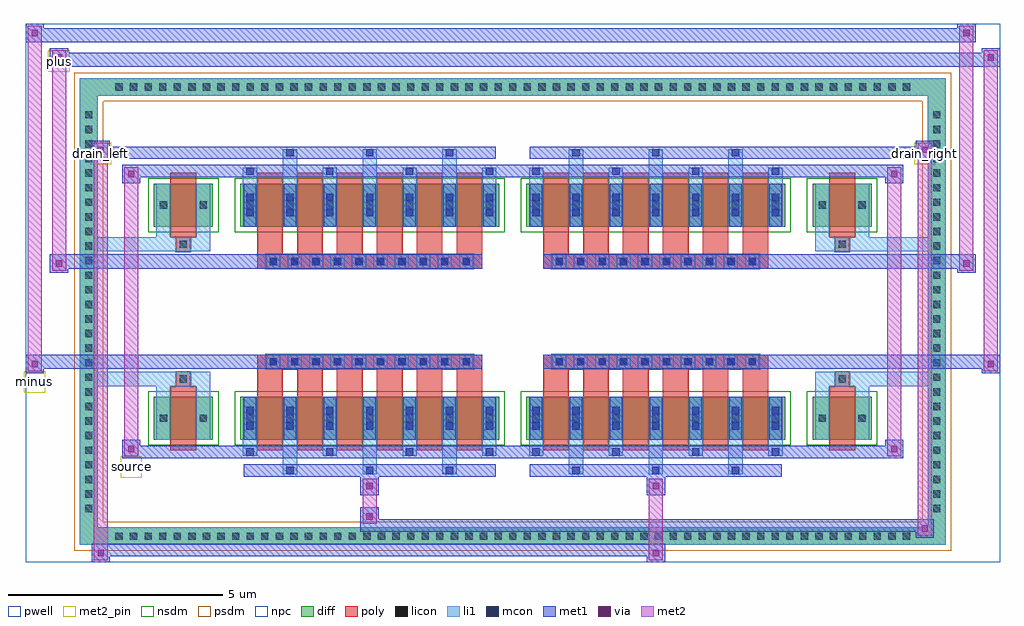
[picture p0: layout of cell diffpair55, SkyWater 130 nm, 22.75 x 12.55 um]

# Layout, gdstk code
import gdstk
lib = gdstk.Library(unit=1e-6, precision=5e-09)
def R(c, l, rs):  # rectangles x0, y0, x1, y1
    for r in rs: c.add(gdstk.rectangle(r[:2], r[2:], *l))
def A(c, l, x, y, w, h, nx, ny, dx, dy):  # array of equal rectangles
    R(c, l, [(x+i*dx, y+j*dy, x+i*dx+w, y+j*dy+h) for i in range(nx) for j in range(ny)])
def P(c, l, *ps):  # polygons
    for p in ps: c.add(gdstk.Polygon(p, *l))
pwell = (64, 44)
diff = (65, 20)
poly = (66, 20)
licon = (66, 44)
li1 = (67, 20)
mcon = (67, 44)
met1 = (68, 20)
via = (68, 44)
met2_pin = (69, 16)
met2 = (69, 20)
nsdm = (93, 44)
psdm = (94, 20)
npc = (95, 20)

diffpair55 = lib.new_cell('diffpair55')
R(diffpair55, pwell, [(-11.36,-5.84,11.36,6.71), (-8.68,-4.03,-0.01,-0.805), (0.01,-4.03,8.68,-0.805), (-8.68,0.805,-0.01,4.03), (0.01,0.805,8.68,4.03)])
A(diffpair55, diff, -9.385, -5.44, 0.41, 0.41, 55, 2, 0.34, 10.47)
A(diffpair55, diff, -10.09, -4.795, 0.41, 0.41, 1, 28, 0, 0.34)
A(diffpair55, diff, 9.68, -4.795, 0.41, 0.41, 1, 28, 0, 0.34)
R(diffpair55, diff, [(-9.385,-5.44,9.385,-5.03), (-10.09,-4.795,-9.68,4.795), (9.68,-4.795,10.09,4.795), (-8.37,-2.985,-6.99,-1.985), (-6.35,-2.985,-0.32,-1.985), (0.32,-2.985,6.35,-1.985), (6.99,-2.985,8.37,-1.985), (-8.37,1.985,-6.99,2.985), (-6.35,1.985,-0.32,2.985), (0.32,1.985,6.35,2.985), (6.99,1.985,8.37,2.985), (-9.385,5.03,9.385,5.44)])
P(diffpair55, diff, [(10.09,5.44),(-10.09,5.44),(-10.09,-5.03),(-9.68,-5.03),(-9.68,5.03),(9.68,5.03),(9.68,-5.03),(-9.68,-5.03),(-10.09,-5.03),(-10.09,-5.44),(10.09,-5.44)])
A(diffpair55, poly, -5.96, -3.235, 0.6, 1.5, 6, 2, 0.93, 4.97)
A(diffpair55, poly, 0.71, -3.235, 0.6, 1.5, 6, 2, 0.93, 4.97)
A(diffpair55, poly, -5.96, -1.735, 0.6, 0.4, 6, 2, 0.93, 3.07)
A(diffpair55, poly, 0.71, -1.735, 0.6, 0.4, 6, 2, 0.93, 3.07)
A(diffpair55, poly, -5.75, -1.335, 0.33, 0.33, 10, 2, 0.5, 2.34)
A(diffpair55, poly, 0.92, -1.335, 0.33, 0.33, 10, 2, 0.5, 2.34)
R(diffpair55, poly, [(-7.98,-3.235,-7.38,-1.735), (7.38,-3.235,7.98,-1.735), (-7.845,-1.735,-7.515,-1.405), (-7.845,-1.735,-7.515,-1.405), (7.515,-1.735,7.845,-1.405), (7.515,-1.735,7.845,-1.405), (-5.96,-1.335,-0.71,-1.005), (0.71,-1.335,5.96,-1.005), (-5.96,1.005,-0.71,1.335), (0.71,1.005,5.96,1.335), (-7.845,1.405,-7.515,1.735), (-7.845,1.405,-7.515,1.735), (7.515,1.405,7.845,1.735), (7.515,1.405,7.845,1.735), (-7.98,1.735,-7.38,3.235), (7.38,1.735,7.98,3.235)])
A(diffpair55, licon, -9.265, -5.32, 0.17, 0.17, 55, 2, 0.34, 10.47)
A(diffpair55, licon, -9.97, -4.675, 0.17, 0.17, 1, 28, 0, 0.34)
A(diffpair55, licon, 9.8, -4.675, 0.17, 0.17, 1, 28, 0, 0.34)
A(diffpair55, licon, -6.21, -2.57, 0.17, 0.17, 7, 2, 0.93, 4.97)
A(diffpair55, licon, 0.46, -2.57, 0.17, 0.17, 7, 2, 0.93, 4.97)
A(diffpair55, licon, -5.67, -1.255, 0.17, 0.17, 10, 2, 0.5, 2.34)
A(diffpair55, licon, 1, -1.255, 0.17, 0.17, 10, 2, 0.5, 2.34)
R(diffpair55, licon, [(-8.23,-2.57,-8.06,-2.4), (-7.3,-2.57,-7.13,-2.4), (7.13,-2.57,7.3,-2.4), (8.06,-2.57,8.23,-2.4), (-7.765,-1.655,-7.595,-1.485), (7.595,-1.655,7.765,-1.485), (-7.765,1.485,-7.595,1.655), (7.595,1.485,7.765,1.655), (-8.23,2.4,-8.06,2.57), (-7.3,2.4,-7.13,2.57), (7.13,2.4,7.3,2.57), (8.06,2.4,8.23,2.57)])
A(diffpair55, li1, -9.345, -5.4, 0.33, 0.33, 55, 2, 0.34, 10.47)
A(diffpair55, li1, -10.05, -4.755, 0.33, 0.33, 1, 28, 0, 0.34)
A(diffpair55, li1, 9.72, -4.755, 0.33, 0.33, 1, 28, 0, 0.34)
A(diffpair55, li1, -5.36, -3.79, 0.33, 0.805, 3, 2, 1.86, 6.775)
A(diffpair55, li1, -5.28, -3.79, 0.17, 0.17, 3, 2, 1.86, 7.41)
A(diffpair55, li1, 1.31, -3.79, 0.33, 0.805, 3, 2, 1.86, 6.775)
A(diffpair55, li1, 1.39, -3.79, 0.17, 0.17, 3, 2, 1.86, 7.41)
A(diffpair55, li1, -6.29, -3.36, 0.33, 0.375, 4, 2, 1.86, 6.345)
A(diffpair55, li1, -6.21, -3.36, 0.17, 0.17, 4, 2, 1.86, 6.55)
A(diffpair55, li1, 0.38, -3.36, 0.33, 0.375, 4, 2, 1.86, 6.345)
A(diffpair55, li1, 0.46, -3.36, 0.17, 0.17, 4, 2, 1.86, 6.55)
A(diffpair55, li1, -6.29, -2.985, 0.33, 1, 7, 2, 0.93, 4.97)
A(diffpair55, li1, 0.38, -2.985, 0.33, 1, 7, 2, 0.93, 4.97)
A(diffpair55, li1, -6.21, -2.75, 0.17, 0.17, 7, 2, 0.93, 0.36)
A(diffpair55, li1, -6.21, -2.75, 0.17, 0.53, 7, 2, 0.93, 4.97)
A(diffpair55, li1, 0.46, -2.75, 0.17, 0.17, 7, 2, 0.93, 0.36)
A(diffpair55, li1, 0.46, -2.75, 0.17, 0.53, 7, 2, 0.93, 4.97)
A(diffpair55, li1, -6.29, -2.65, 0.33, 0.33, 7, 2, 0.93, 4.97)
A(diffpair55, li1, 0.38, -2.65, 0.33, 0.33, 7, 2, 0.93, 4.97)
A(diffpair55, li1, -5.75, -1.335, 0.33, 0.33, 10, 2, 0.5, 2.34)
A(diffpair55, li1, 0.92, -1.335, 0.33, 0.33, 10, 2, 0.5, 2.34)
A(diffpair55, li1, -6.21, 2.22, 0.17, 0.17, 7, 2, 0.93, 0.36)
A(diffpair55, li1, 0.46, 2.22, 0.17, 0.17, 7, 2, 0.93, 0.36)
R(diffpair55, li1, [(-10.09,-5.44,-9.68,-5.03), (-10.09,-5.44,-9.68,-5.03), (-9.68,-5.44,9.68,-5.03), (9.68,-5.44,10.09,-5.03), (9.68,-5.44,10.09,-5.03), (-10.09,-5.03,-9.68,5.03), (9.68,-5.03,10.09,5.03), (-8.31,-2.985,-7.98,-1.985), (-7.38,-2.985,-7.05,-1.985), (7.05,-2.985,7.38,-1.985), (7.98,-2.985,8.31,-1.985), (-8.31,-2.65,-7.98,-2.32), (-7.38,-2.65,-7.05,-2.32), (7.05,-2.65,7.38,-2.32), (7.98,-2.65,8.31,-2.32), (-8.31,-1.985,-7.98,-1.405), (-7.38,-1.985,-7.05,-1.405), (7.05,-1.985,7.38,-1.405), (7.98,-1.985,8.31,-1.405), (-10.09,-1.735,-7.845,-1.405), (-8.31,-1.735,-7.845,-1.405), (-7.845,-1.735,-7.515,-1.405), (-7.515,-1.735,-7.05,-1.405), (7.05,-1.735,7.515,-1.405), (7.515,-1.735,7.845,-1.405), (7.515,-1.735,10.09,-1.405), (7.845,-1.735,8.31,-1.405), (-10.09,1.405,-7.845,1.735), (-8.31,1.405,-7.845,1.735), (-8.31,1.405,-7.98,1.985), (-7.845,1.405,-7.515,1.735), (-7.515,1.405,-7.05,1.735), (-7.38,1.405,-7.05,1.985), (7.05,1.405,7.515,1.735), (7.05,1.405,7.38,1.985), (7.515,1.405,7.845,1.735), (7.515,1.405,10.09,1.735), (7.845,1.405,8.31,1.735), (7.98,1.405,8.31,1.985), (-8.31,1.985,-7.98,2.985), (-7.38,1.985,-7.05,2.985), (7.05,1.985,7.38,2.985), (7.98,1.985,8.31,2.985), (-8.31,2.32,-7.98,2.65), (-7.38,2.32,-7.05,2.65), (7.05,2.32,7.38,2.65), (7.98,2.32,8.31,2.65), (-10.09,5.03,-9.68,5.44), (-10.09,5.03,-9.68,5.44), (-9.68,5.03,9.68,5.44), (9.68,5.03,10.09,5.44), (9.68,5.03,10.09,5.44)])
A(diffpair55, mcon, -5.28, -3.79, 0.17, 0.17, 3, 2, 1.86, 7.41)
A(diffpair55, mcon, 1.39, -3.79, 0.17, 0.17, 3, 2, 1.86, 7.41)
A(diffpair55, mcon, -6.21, -3.36, 0.17, 0.17, 4, 2, 1.86, 6.55)
A(diffpair55, mcon, 0.46, -3.36, 0.17, 0.17, 4, 2, 1.86, 6.55)
A(diffpair55, mcon, -6.21, -2.75, 0.17, 0.17, 7, 2, 0.93, 0.36)
A(diffpair55, mcon, 0.46, -2.75, 0.17, 0.17, 7, 2, 0.93, 0.36)
A(diffpair55, mcon, -5.67, -1.255, 0.17, 0.17, 10, 2, 0.5, 2.34)
A(diffpair55, mcon, 1, -1.255, 0.17, 0.17, 10, 2, 0.5, 2.34)
A(diffpair55, mcon, -6.21, 2.22, 0.17, 0.17, 7, 2, 0.93, 0.36)
A(diffpair55, mcon, 0.46, 2.22, 0.17, 0.17, 7, 2, 0.93, 0.36)
A(diffpair55, met1, -5.34, -3.85, 0.29, 0.29, 3, 2, 1.86, 7.41)
A(diffpair55, met1, 1.33, -3.85, 0.29, 0.29, 3, 2, 1.86, 7.41)
A(diffpair55, met1, -6.27, -3.42, 0.29, 0.29, 4, 2, 1.86, 6.55)
A(diffpair55, met1, 0.4, -3.42, 0.29, 0.29, 4, 2, 1.86, 6.55)
A(diffpair55, met1, -6.27, -2.985, 0.29, 1, 7, 2, 0.93, 4.97)
A(diffpair55, met1, 0.4, -2.985, 0.29, 1, 7, 2, 0.93, 4.97)
A(diffpair55, met1, -6.27, -2.81, 0.29, 0.29, 7, 2, 0.93, 0.36)
A(diffpair55, met1, 0.4, -2.81, 0.29, 0.29, 7, 2, 0.93, 0.36)
A(diffpair55, met1, -5.73, -1.315, 0.29, 0.29, 10, 2, 0.5, 2.34)
A(diffpair55, met1, 0.94, -1.315, 0.29, 0.29, 10, 2, 0.5, 2.34)
A(diffpair55, met1, -6.27, 2.16, 0.29, 0.29, 7, 2, 0.93, 0.36)
A(diffpair55, met1, 0.4, 2.16, 0.29, 0.29, 7, 2, 0.93, 0.36)
R(diffpair55, met1, [(-9.82,-5.84,-9.39,-5.41), (3.12,-5.84,3.55,-5.41), (-9.82,-5.7,3.55,-5.41), (9.39,-5.27,9.82,-4.84), (-3.55,-5.13,9.82,-4.84), (-3.55,-4.99,-3.12,-4.56), (-3.55,-4.28,-3.12,-3.85), (3.12,-4.28,3.55,-3.85), (-6.27,-3.85,-0.4,-3.56), (0.4,-3.85,6.27,-3.56), (-9.11,-3.42,-8.68,-2.99), (-9.11,-3.42,-6.27,-3.13), (-6.27,-3.42,-0.4,-3.13), (-0.4,-3.42,0.4,-3.13), (0.4,-3.42,6.27,-3.13), (6.27,-3.42,9.11,-3.13), (8.68,-3.42,9.11,-2.99), (-11.36,-1.435,-10.93,-1.005), (10.93,-1.435,11.36,-1.005), (-11.36,-1.335,-0.71,-1.005), (-5.96,-1.335,-0.71,-1.005), (0.71,-1.335,5.96,-1.005), (0.71,-1.335,11.36,-1.005), (-10.79,0.905,-10.36,1.335), (10.36,0.905,10.79,1.335), (-10.79,1.005,-5.96,1.335), (-5.96,1.005,-0.71,1.335), (0.71,1.005,5.96,1.335), (5.96,1.005,10.79,1.335), (-9.11,2.99,-8.68,3.42), (8.68,2.99,9.11,3.42), (-9.11,3.13,-6.27,3.42), (-6.27,3.13,-0.4,3.42), (-0.4,3.13,0.4,3.42), (0.4,3.13,6.27,3.42), (6.27,3.13,9.11,3.42), (-9.82,3.56,-9.39,3.99), (-9.82,3.56,-6.27,3.85), (-6.27,3.56,-0.4,3.85), (0.4,3.56,6.27,3.85), (6.27,3.56,9.82,3.85), (9.39,3.56,9.82,3.99), (-10.79,5.71,-10.36,6.14), (-10.79,5.71,-8.68,6.04), (-8.68,5.71,8.68,6.04), (8.68,5.71,11.36,6.04), (10.93,5.71,11.36,6.14), (-11.36,6.28,-10.93,6.71), (-11.36,6.28,-8.68,6.61), (-8.68,6.28,8.68,6.61), (8.68,6.28,10.79,6.61), (10.36,6.28,10.79,6.71)])
R(diffpair55, via, [(-9.68,-5.7,-9.53,-5.55), (3.26,-5.7,3.41,-5.55), (9.53,-5.13,9.68,-4.98), (-3.41,-4.85,-3.26,-4.7), (-3.41,-4.14,-3.26,-3.99), (3.26,-4.14,3.41,-3.99), (-8.97,-3.28,-8.82,-3.13), (8.82,-3.28,8.97,-3.13), (-11.22,-1.295,-11.07,-1.145), (11.07,-1.295,11.22,-1.145), (-10.65,1.045,-10.5,1.195), (10.5,1.045,10.65,1.195), (-8.97,3.13,-8.82,3.28), (8.82,3.13,8.97,3.28), (-9.68,3.7,-9.53,3.85), (9.53,3.7,9.68,3.85), (-10.65,5.85,-10.5,6), (11.07,5.85,11.22,6), (-11.22,6.42,-11.07,6.57), (10.5,6.42,10.65,6.57)])
R(diffpair55, met2_pin, [(-9.145,-3.87,-8.645,-3.37), (-11.395,-1.885,-10.895,-1.385), (-9.855,3.44,-9.355,3.94), (9.355,3.44,9.855,3.94), (-10.825,5.59,-10.325,6.09)])
R(diffpair55, met2, [(-9.77,-5.79,-9.44,-5.46), (-9.77,-5.79,-9.44,3.94), (3.17,-5.79,3.5,-5.46), (3.17,-5.46,3.5,-4.23), (9.44,-5.22,9.77,-4.89), (9.44,-5.22,9.77,3.94), (-3.5,-4.94,-3.17,-4.61), (-3.5,-4.61,-3.17,-4.23), (-3.5,-4.23,-3.17,-3.9), (3.17,-4.23,3.5,-3.9), (-9.06,-3.37,-8.73,-3.04), (-9.06,-3.37,-8.73,3.37), (8.73,-3.37,9.06,-3.04), (8.73,-3.37,9.06,3.37), (-11.31,-1.385,-10.98,-1.055), (-11.31,-1.385,-10.98,6.66), (10.98,-1.385,11.31,-1.055), (10.98,-1.385,11.31,6.09), (-10.74,0.955,-10.41,1.285), (-10.74,0.955,-10.41,6.09), (10.41,0.955,10.74,1.285), (10.41,0.955,10.74,6.66), (-9.06,3.04,-8.73,3.37), (8.73,3.04,9.06,3.37), (-9.77,3.61,-9.44,3.94), (9.44,3.61,9.77,3.94), (-10.74,5.76,-10.41,6.09), (10.98,5.76,11.31,6.09), (-11.31,6.33,-10.98,6.66), (10.41,6.33,10.74,6.66)])
P(diffpair55, met2, [(11.31,-1.385),(11.31,-1.385),(11.31,-1.055),(11.31,-1.055)],
  [(11.31,5.76),(11.31,5.76),(11.31,6.09),(11.31,6.09)],
  [(-10.98,-1.385),(-10.98,-1.385),(-10.98,-1.055),(-10.98,-1.055)],
  [(-10.98,6.33),(-10.98,6.33),(-10.98,6.66),(-10.98,6.66)],
  [(10.74,0.955),(10.74,0.955),(10.74,1.285),(10.74,1.285)],
  [(10.74,6.33),(10.74,6.33),(10.74,6.66),(10.74,6.66)],
  [(-10.41,0.955),(-10.41,0.955),(-10.41,1.285),(-10.41,1.285)],
  [(-10.41,5.76),(-10.41,5.76),(-10.41,6.09),(-10.41,6.09)],
  [(-9.44,-5.79),(-9.44,-5.79),(-9.44,-5.46),(-9.44,-5.46)],
  [(-9.44,3.61),(-9.44,3.61),(-9.44,3.94),(-9.44,3.94)],
  [(9.77,-5.22),(9.77,-5.22),(9.77,-4.89),(9.77,-4.89)],
  [(9.77,3.61),(9.77,3.61),(9.77,3.94),(9.77,3.94)],
  [(-8.73,-3.37),(-8.73,-3.37),(-8.73,-3.04),(-8.73,-3.04)],
  [(-8.73,3.04),(-8.73,3.04),(-8.73,3.37),(-8.73,3.37)],
  [(9.06,-3.37),(9.06,-3.37),(9.06,-3.04),(9.06,-3.04)],
  [(9.06,3.04),(9.06,3.04),(9.06,3.37),(9.06,3.37)])
R(diffpair55, nsdm, [(-8.5,-3.115,-6.86,-1.855), (-6.48,-3.115,-0.19,-1.855), (0.19,-3.115,6.48,-1.855), (6.86,-3.115,8.5,-1.855), (-8.5,1.855,-6.86,3.115), (-6.48,1.855,-0.19,3.115), (0.19,1.855,6.48,3.115), (6.86,1.855,8.5,3.115)])
P(diffpair55, psdm, [(10.22,5.57),(-10.22,5.57),(-10.22,-4.9),(-9.55,-4.9),(-9.55,4.9),(9.55,4.9),(9.55,-4.9),(-9.55,-4.9),(-10.22,-4.9),(-10.22,-5.57),(10.22,-5.57)])
A(diffpair55, npc, -5.77, -1.355, 0.37, 0.37, 10, 2, 0.5, 2.34)
A(diffpair55, npc, 0.9, -1.355, 0.37, 0.37, 10, 2, 0.5, 2.34)
R(diffpair55, npc, [(-7.865,-1.755,-7.495,-1.385), (7.495,-1.755,7.865,-1.385), (-5.77,-1.355,-4.9,-0.985), (-5.77,-1.355,-4.9,-0.985), (-5.27,-1.355,-4.4,-0.985), (-5.27,-1.355,-4.4,-0.985), (-4.77,-1.355,-3.9,-0.985), (-4.77,-1.355,-3.9,-0.985), (-4.27,-1.355,-3.4,-0.985), (-4.27,-1.355,-3.4,-0.985), (-3.77,-1.355,-2.9,-0.985), (-3.77,-1.355,-2.9,-0.985), (-3.27,-1.355,-2.4,-0.985), (-3.27,-1.355,-2.4,-0.985), (-2.77,-1.355,-1.9,-0.985), (-2.77,-1.355,-1.9,-0.985), (-2.27,-1.355,-1.4,-0.985), (-2.27,-1.355,-1.4,-0.985), (-1.77,-1.355,-0.9,-0.985), (-1.77,-1.355,-0.9,-0.985), (0.9,-1.355,1.77,-0.985), (0.9,-1.355,1.77,-0.985), (1.4,-1.355,2.27,-0.985), (1.4,-1.355,2.27,-0.985), (1.9,-1.355,2.77,-0.985), (1.9,-1.355,2.77,-0.985), (2.4,-1.355,3.27,-0.985), (2.4,-1.355,3.27,-0.985), (2.9,-1.355,3.77,-0.985), (2.9,-1.355,3.77,-0.985), (3.4,-1.355,4.27,-0.985), (3.4,-1.355,4.27,-0.985), (3.9,-1.355,4.77,-0.985), (3.9,-1.355,4.77,-0.985), (4.4,-1.355,5.27,-0.985), (4.4,-1.355,5.27,-0.985), (4.9,-1.355,5.77,-0.985), (4.9,-1.355,5.77,-0.985), (-5.77,0.985,-4.9,1.355), (-5.77,0.985,-4.9,1.355), (-5.27,0.985,-4.4,1.355), (-5.27,0.985,-4.4,1.355), (-4.77,0.985,-3.9,1.355), (-4.77,0.985,-3.9,1.355), (-4.27,0.985,-3.4,1.355), (-4.27,0.985,-3.4,1.355), (-3.77,0.985,-2.9,1.355), (-3.77,0.985,-2.9,1.355), (-3.27,0.985,-2.4,1.355), (-3.27,0.985,-2.4,1.355), (-2.77,0.985,-1.9,1.355), (-2.77,0.985,-1.9,1.355), (-2.27,0.985,-1.4,1.355), (-2.27,0.985,-1.4,1.355), (-1.77,0.985,-0.9,1.355), (-1.77,0.985,-0.9,1.355), (0.9,0.985,1.77,1.355), (0.9,0.985,1.77,1.355), (1.4,0.985,2.27,1.355), (1.4,0.985,2.27,1.355), (1.9,0.985,2.77,1.355), (1.9,0.985,2.77,1.355), (2.4,0.985,3.27,1.355), (2.4,0.985,3.27,1.355), (2.9,0.985,3.77,1.355), (2.9,0.985,3.77,1.355), (3.4,0.985,4.27,1.355), (3.4,0.985,4.27,1.355), (3.9,0.985,4.77,1.355), (3.9,0.985,4.77,1.355), (4.4,0.985,5.27,1.355), (4.4,0.985,5.27,1.355), (4.9,0.985,5.77,1.355), (4.9,0.985,5.77,1.355), (-7.865,1.385,-7.495,1.755), (7.495,1.385,7.865,1.755)])
diffpair55.add(gdstk.Label('minus', (-11.145,-1.635), layer=69, texttype=5))
diffpair55.add(gdstk.Label('drain_right', (9.605,3.69), layer=69, texttype=5))
diffpair55.add(gdstk.Label('drain_left', (-9.605,3.69), layer=69, texttype=5))
diffpair55.add(gdstk.Label('source', (-8.895,-3.62), layer=69, texttype=5))
diffpair55.add(gdstk.Label('plus', (-10.575,5.84), layer=69, texttype=5))

lib.write_gds('diffpair55.gds')
